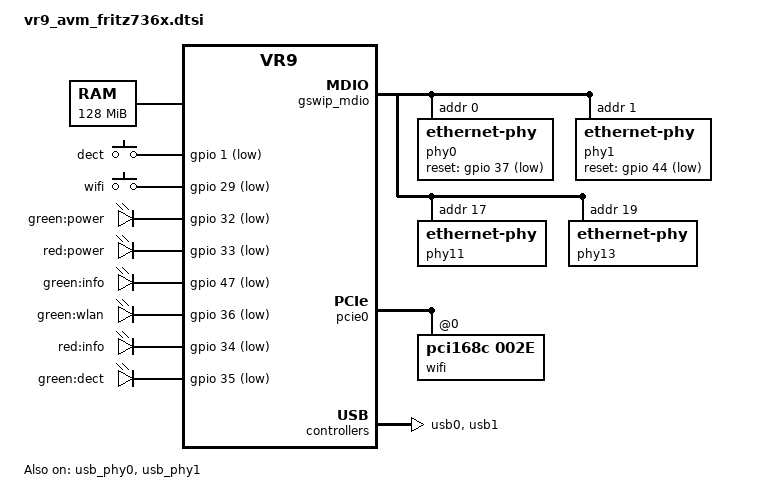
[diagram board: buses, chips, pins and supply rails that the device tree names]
// SPDX-License-Identifier: GPL-2.0-or-later OR MIT

#include "vr9.dtsi"

#include <dt-bindings/input/input.h>
#include <dt-bindings/mips/lantiq_rcu_gphy.h>

/ {
	compatible = "avm,fritz736x", "lantiq,xway", "lantiq,vr9";

	chosen {
		bootargs = "console=ttyLTQ0,115200";
	};

	aliases {
		led-boot = &led_power_green;
		led-failsafe = &led_power_red;
		led-running = &led_power_green;
		led-upgrade = &led_power_red;

		led-dsl = &led_info_green;
		led-wifi = &led_wifi;
	};

	memory@0 {
		device_type = "memory";
		reg = <0x0 0x8000000>;
	};

	keys {
		compatible = "gpio-keys-polled";
		poll-interval = <100>;

		dect {
			label = "dect";
			gpios = <&gpio 1 GPIO_ACTIVE_LOW>;
			linux,code = <KEY_PHONE>;
		};

		wifi {
			label = "wifi";
			gpios = <&gpio 29 GPIO_ACTIVE_LOW>;
			linux,code = <KEY_RFKILL>;
		};
	};

	leds: leds {
		compatible = "gpio-leds";

		led_power_green: power_green {
			label = "green:power";
			gpios = <&gpio 32 GPIO_ACTIVE_LOW>;
			default-state = "keep";
		};

		led_power_red: power_red {
			label = "red:power";
			gpios = <&gpio 33 GPIO_ACTIVE_LOW>;
		};

		led_info_green: info_green {
			label = "green:info";
			gpios = <&gpio 47 GPIO_ACTIVE_LOW>;
		};

		led_wifi: wifi {
			label = "green:wlan";
			gpios = <&gpio 36 GPIO_ACTIVE_LOW>;
		};

		info_red {
			label = "red:info";
			gpios = <&gpio 34 GPIO_ACTIVE_LOW>;
		};

		dect {
			label = "green:dect";
			gpios = <&gpio 35 GPIO_ACTIVE_LOW>;
		};
	};
};

&gphy0 {
	lantiq,gphy-mode = <GPHY_MODE_GE>;
};

&gphy1 {
	lantiq,gphy-mode = <GPHY_MODE_GE>;
};

&gpio {
	pinctrl-names = "default";
	pinctrl-0 = <&state_default>;

	state_default: pinmux {
		phy-rst {
			lantiq,pins = "io37", "io44";
			lantiq,pull = <0>;
			lantiq,open-drain;
			lantiq,output = <1>;
		};
	};

};

&gswip {
	pinctrl-0 = <&mdio_pins>;
	pinctrl-names = "default";
};

&gswip_mdio {
	phy0: ethernet-phy@0 {
		reg = <0x00>;
		reset-gpios = <&gpio 37 GPIO_ACTIVE_LOW>;
	};

	phy1: ethernet-phy@1 {
		reg = <0x01>;
		reset-gpios = <&gpio 44 GPIO_ACTIVE_LOW>;
	};

	phy11: ethernet-phy@11 {
		reg = <0x11>;
	};

	phy13: ethernet-phy@13 {
		reg = <0x13>;
	};
};

&gswip_ports {
	port@0 {
		reg = <0>;
		label = "lan3";
		phy-mode = "rmii";
		phy-handle = <&phy0>;
	};

	port@1 {
		reg = <1>;
		label = "lan4";
		phy-mode = "rmii";
		phy-handle = <&phy1>;
	};

	port@2 {
		reg = <2>;
		label = "lan2";
		phy-mode = "internal";
		phy-handle = <&phy11>;
	};

	port@4 {
		reg = <4>;
		label = "lan1";
		phy-mode = "internal";
		phy-handle = <&phy13>;
	};
};

&pcie0 {
	status = "okay";

	pcie@0 {
		reg = <0 0 0 0 0>;
		#interrupt-cells = <1>;
		#size-cells = <1>;
		#address-cells = <2>;
		device_type = "pci";

		wifi@168c,002e {
			compatible = "pci168c,002e";
			reg = <0 0 0 0 0>;
			qca,no-eeprom; /* load from ath9k-eeprom-pci-0000:01:00.0.bin */
		};
	};
};

&usb_phy0 {
	status = "okay";
};

&usb_phy1 {
	status = "okay";
};

&usb0 {
	status = "okay";
};

&usb1 {
	status = "okay";
};
